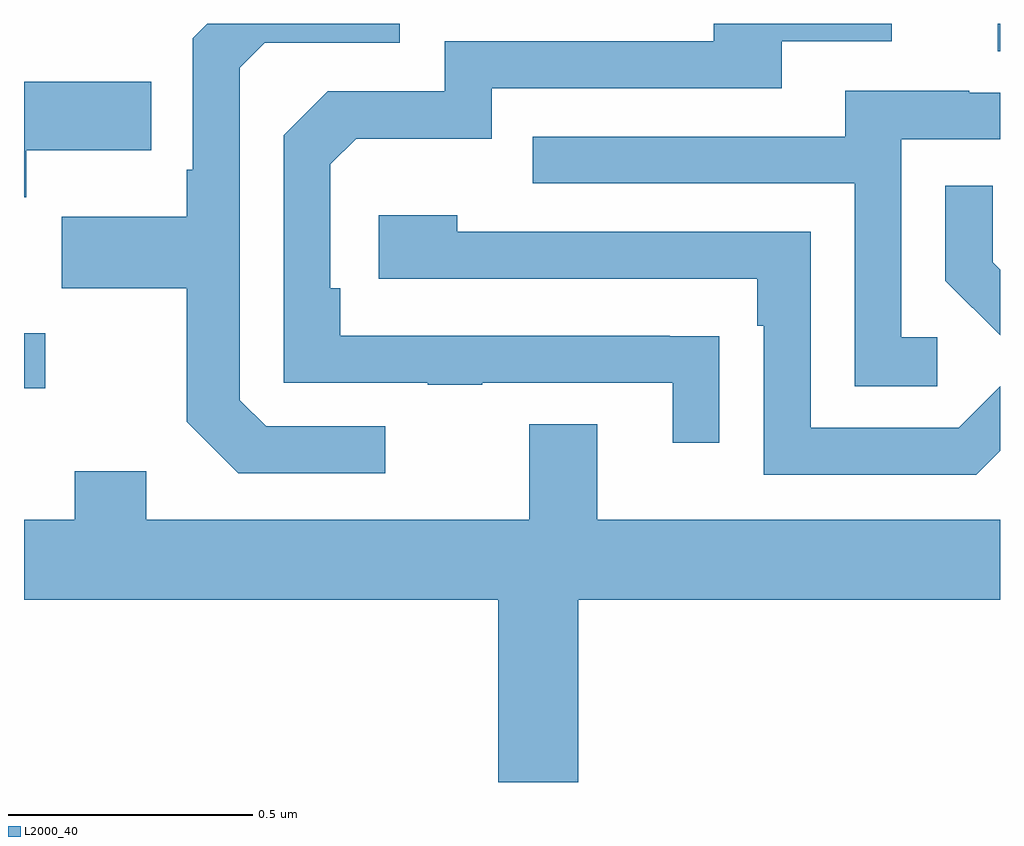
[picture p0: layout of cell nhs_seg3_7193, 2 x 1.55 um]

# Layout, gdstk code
import gdstk
lib = gdstk.Library(unit=1e-6, precision=1e-09)
def R(c, l, rs):  # rectangles x0, y0, x1, y1
    for r in rs: c.add(gdstk.rectangle(r[:2], r[2:], *l))
def P(c, l, *ps):  # polygons
    for p in ps: c.add(gdstk.Polygon(p, *l))
L2000_40 = (2000, 40)

nhs_seg3_7193 = lib.new_cell('nhs_seg3_7193')
R(nhs_seg3_7193, L2000_40, [(200,730.653,200.044,730.766), (201.995,731.344,202,731.4)])
P(nhs_seg3_7193, L2000_40, [(200.74,730.575),(200.496,730.575),(200.442,730.629),(200.442,731.31),(200.493,731.361),(200.77,731.361),(200.77,731.4),(200.376,731.4),(200.346,731.37),(200.346,731.101),(200.334,731.101),(200.334,731.005),(200.077,731.005),(200.077,730.858),(200.334,730.858),(200.334,730.585),(200.439,730.479),(200.74,730.479)],
  [(201.425,730.76),(201.323,730.76),(201.323,730.761),(200.648,730.761),(200.648,730.858),(200.628,730.858),(200.628,731.112),(200.681,731.165),(200.958,731.165),(200.958,731.268),(201.553,731.268),(201.553,731.364),(201.778,731.364),(201.778,731.4),(201.413,731.4),(201.413,731.364),(200.862,731.364),(200.862,731.262),(200.622,731.262),(200.532,731.172),(200.532,730.665),(200.827,730.665),(200.827,730.66),(200.939,730.66),(200.939,730.665),(201.329,730.665),(201.329,730.542),(201.425,730.542)],
  [(200.005,731.141),(200.261,731.141),(200.261,731.281),(200,731.281),(200,731.045),(200.005,731.045)],
  [(201.871,730.758),(201.798,730.758),(201.798,731.163),(202,731.163),(202,731.259),(201.937,731.259),(201.937,731.263),(201.683,731.263),(201.683,731.169),(201.043,731.169),(201.043,731.073),(201.702,731.073),(201.702,730.657),(201.871,730.657)],
  [(202,730.896),(201.985,730.911),(201.985,731.068),(201.888,731.068),(201.888,730.874),(202,730.762)],
  [(202,730.525),(202,730.657),(201.915,730.572),(201.612,730.572),(201.612,730.974),(200.888,730.974),(200.888,731.008),(200.727,731.008),(200.727,730.878),(201.503,730.878),(201.503,730.781),(201.516,730.781),(201.516,730.476),(201.951,730.476)],
  [(201.136,730.22),(202,730.22),(202,730.384),(201.175,730.384),(201.175,730.579),(201.035,730.579),(201.035,730.384),(200.251,730.384),(200.251,730.483),(200.104,730.483),(200.104,730.384),(200,730.384),(200,730.22),(200.972,730.22),(200.972,729.846),(201.136,729.846)])

lib.write_gds('nhs_seg3_7193.gds')
